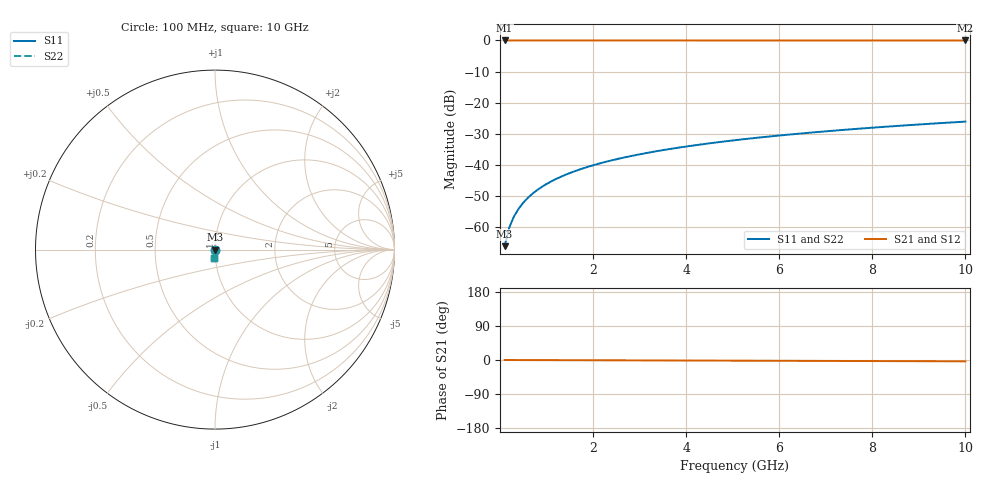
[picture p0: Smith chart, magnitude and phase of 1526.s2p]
# Hz S RI R 50.00
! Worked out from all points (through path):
!   100 points, 100 MHz to 10 GHz, reference 50 ohm
!   highest |S21| = 0.00 dB at 100 MHz (marker M1); lowest = 0.0 dB at 10 GHz (marker M2)
!   lowest |S11| = -66.2 dB at 100 MHz (marker M3), VSWR 1.00, Z = 50 - j0.0489 ohm
!   |S11| at or under -10 dB: start of sweep to end of sweep
!   |S22| runs from -66.2 to -26.1 dB; largest |S21 - S12| = 0
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1e8  1.82e-05 -0.000489  1 -0.000601  1 -0.000601  1.82e-05 -0.000489
2e8  1.7e-05 -0.000978  1 -0.0012  1 -0.0012  1.7e-05 -0.000978
3e8  1.5e-05 -0.00147  1 -0.0018  1 -0.0018  1.5e-05 -0.00147
4e8  1.25e-05 -0.00196  1 -0.0024  1 -0.0024  1.25e-05 -0.00196
5e8  9.44e-06 -0.00245  1 -0.003  1 -0.003  9.44e-06 -0.00245
6e8  5.73e-06 -0.00293  1 -0.0036  1 -0.0036  5.73e-06 -0.00293
7e8  1.44e-06 -0.00342  1 -0.0042  1 -0.0042  1.44e-06 -0.00342
8e8  -3.45e-06 -0.00391  1 -0.00481  1 -0.00481  -3.45e-06 -0.00391
9e8  -8.93e-06 -0.0044  1 -0.00541  1 -0.00541  -8.93e-06 -0.0044
1.1e9  -2.17e-05 -0.00538  0.9999 -0.00661  0.9999 -0.00661  -2.17e-05 -0.00538
1.4e9  -4.52e-05 -0.00685  0.9999 -0.00841  0.9999 -0.00841  -4.52e-05 -0.00685
1.8e9  -8.49e-05 -0.00881  0.9999 -0.0108  0.9999 -0.0108  -8.49e-05 -0.00881
2.1e9  -0.000121 -0.0103  0.9998 -0.0126  0.9998 -0.0126  -0.000121 -0.0103
2.5e9  -0.000177 -0.0122  0.9998 -0.015  0.9998 -0.015  -0.000177 -0.0122
2.9e9  -0.000243 -0.0142  0.9997 -0.0175  0.9997 -0.0175  -0.000243 -0.0142
3.4e9  -0.000339 -0.0167  0.9996 -0.0205  0.9996 -0.0205  -0.000339 -0.0167
4.2e9  -0.000524 -0.0206  0.9994 -0.0253  0.9994 -0.0253  -0.000524 -0.0206
5.1e9  -0.000778 -0.0251  0.9992 -0.0308  0.9992 -0.0308  -0.000778 -0.0251
5.9e9  -0.00104 -0.029  0.9989 -0.0356  0.9989 -0.0356  -0.00104 -0.029
6.7e9  -0.00135 -0.033  0.9986 -0.0405  0.9986 -0.0405  -0.00135 -0.033
8.4e9  -0.00213 -0.0414  0.9978 -0.0509  0.9978 -0.0509  -0.00213 -0.0414
1e10  -0.00303 -0.0493  0.9969 -0.0606  0.9969 -0.0606  -0.00303 -0.0493
